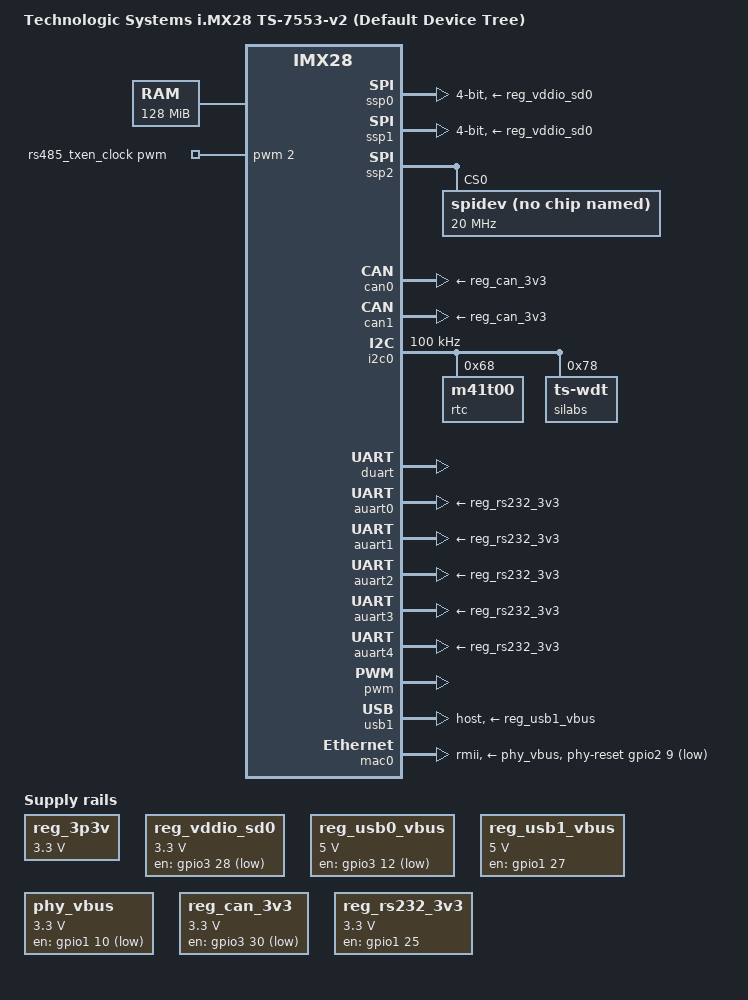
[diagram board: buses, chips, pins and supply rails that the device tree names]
/*
 * Copyright (C) 2012 Marek Vasut <marex@denx.de>
 *
 * The code contained herein is licensed under the GNU General Public
 * License. You may obtain a copy of the GNU General Public License
 * Version 2 or later at the following locations:
 *
 * http://www.opensource.org/licenses/gpl-license.html
 * http://www.gnu.org/copyleft/gpl.html
 */

/dts-v1/;
#include "imx28.dtsi"
#include "dt-bindings/gpio/gpio.h"
#include <dt-bindings/interrupt-controller/irq.h>

/ {

	model = "Technologic Systems i.MX28 TS-7553-v2 (Default Device Tree)";
	compatible = "fsl,imx28-ts7553", "fsl,imx28";

	aliases {
		mmc0 = &ssp0;
		mmc2 = &ssp1;
		i2c0 = &i2c0;
	};

	memory {
		reg = <0x40000000 0x08000000>;   /* 128MB */
	};

	apb@80000000 {
		apbh@80000000 {
		
			ssp0: ssp@80010000 {
				compatible = "fsl,imx28-mmc";
				pinctrl-names = "default";
				pinctrl-0 = <&mmc0_4bit_pins_ts7553
					     &mmc0_sck_cfg
					     &en_sd_pwr>;
				broken-cd = <1>;	     
				bus-width = <4>;
				vmmc-supply = <&reg_vddio_sd0>;
				status = "okay";
			};

			ssp1: ssp@80012000 {
				compatible = "fsl,imx28-mmc";
				pinctrl-names = "default";
				pinctrl-0 = <&mmc1_4bit_pins
				  &en_sd_pwr>;
				broken-cd = <1>;
				bus-width = <4>;
				vmmc-supply = <&reg_vddio_sd0>;
				status = "okay";
			};

									
			ssp2: ssp@80014000 {
				#address-cells = <1>;
				#size-cells = <0>;
				compatible = "fsl,imx28-spi";
				pinctrl-names = "default";
				pinctrl-0 = <&spi_pins_lcd>;
				status = "okay";	
				
				spidev@0x00 {
					compatible = "spidev";
					spi-max-frequency = <20000000>;
					reg = <0>;
				};
			};
			
			pinctrl@80018000 {
				pinctrl-names = "default";
				
				en_sd_pwr: en_sd_pwr {
					fsl,pinmux-ids = <
						// EN_SD_POWER#
						MX28_PAD_PWM3__GPIO_3_28
					>;
					fsl,drive-strength = <MXS_DRIVE_4mA>;
					fsl,voltage = <MXS_VOLTAGE_HIGH>;
					fsl,pull-up = <MXS_PULL_DISABLE>;					};

	
				mmc0_4bit_pins_ts7553: mmc0-4bit@0 {
					reg = <0>;
					fsl,pinmux-ids = <
						MX28_PAD_SSP0_DATA0__SSP0_D0
						MX28_PAD_SSP0_DATA1__SSP0_D1
						MX28_PAD_SSP0_DATA2__SSP0_D2
						MX28_PAD_SSP0_DATA3__SSP0_D3
						MX28_PAD_SSP0_CMD__SSP0_CMD						
						MX28_PAD_SSP0_SCK__SSP0_SCK
					>;
					fsl,drive-strength = <MXS_DRIVE_8mA>;
					fsl,voltage = <MXS_VOLTAGE_HIGH>;
					fsl,pull-up = <MXS_PULL_ENABLE>;
				};

				mmc1_4bit_pins: mmc1-4bit@0 {
					reg = <0>;
					fsl,pinmux-ids = <
						MX28_PAD_GPMI_WRN__SSP1_SCK

						MX28_PAD_GPMI_RDY1__SSP1_CMD
						MX28_PAD_GPMI_D00__SSP1_D0
						MX28_PAD_GPMI_D01__SSP1_D1
						MX28_PAD_GPMI_D02__SSP1_D2
						MX28_PAD_GPMI_D03__SSP1_D3
					>;
					fsl,drive-strength = <MXS_DRIVE_8mA>;
					fsl,voltage = <MXS_VOLTAGE_HIGH>;
					fsl,pull-up = <MXS_PULL_ENABLE>;
				};
				
				mac0_pins_ts7553: mac0@0 {
					reg = <0>;
					fsl,pinmux-ids = <
						MX28_PAD_ENET0_MDC__GPIO_4_0
						MX28_PAD_ENET0_MDIO__GPIO_4_1
						MX28_PAD_ENET0_RX_EN__ENET0_RX_EN
					 	MX28_PAD_ENET0_RXD0__ENET0_RXD0
						MX28_PAD_ENET0_RXD1__ENET0_RXD1
						MX28_PAD_ENET0_TX_EN__ENET0_TX_EN
						MX28_PAD_ENET0_TXD0__ENET0_TXD0
						MX28_PAD_ENET0_TXD1__ENET0_TXD1
						MX28_PAD_ENET_CLK__CLKCTRL_ENET

						// ETH_RESET#
						MX28_PAD_SSP0_DETECT__GPIO_2_9
	
						// EN_ETH_3.3V#
						MX28_PAD_LCD_D10__GPIO_1_10
					>;
					fsl,drive-strength = <MXS_DRIVE_8mA>;
					fsl,voltage = <MXS_VOLTAGE_HIGH>;
					fsl,pull-up = <MXS_PULL_ENABLE>;
				};

				spi_boot_pins_auart2: spi-boot-pins-auart2@0 {
					reg = <0>;
					fsl,pinmux-ids = <
						MX28_PAD_SSP2_SCK__AUART2_RX
						MX28_PAD_SSP2_MOSI__AUART2_TX
					>;
					fsl,drive-strength = <MXS_DRIVE_4mA>;
					fsl,voltage = <MXS_VOLTAGE_HIGH>;
					fsl,pull-up = <MXS_PULL_DISABLE>;
				};

				spi_boot_pins_auart3: spi-boot-pins-auart3@0 {
					reg = <0>;
					fsl,pinmux-ids = <
						MX28_PAD_SSP2_MISO__AUART3_RX
						MX28_PAD_SSP2_SS0__AUART3_TX
					>;
					fsl,drive-strength = <MXS_DRIVE_4mA>;
					fsl,voltage = <MXS_VOLTAGE_HIGH>;
					fsl,pull-up = <MXS_PULL_DISABLE>;
				};

				auart4_pins: auart4@0 {
					reg = <0>;
					fsl,pinmux-ids = <
						MX28_PAD_SAIF0_BITCLK__AUART4_RX
						MX28_PAD_SAIF0_SDATA0__AUART4_TX
						>;
					fsl,drive-strength = <MXS_DRIVE_4mA>;
					fsl,voltage = <MXS_VOLTAGE_HIGH>;
					fsl,pull-up = <MXS_PULL_DISABLE>;
			  	};

				spi_pins_lcd: spi2@0 {
					reg = <0>;
					fsl,pinmux-ids = <
						/* LCD_SPI_CLK */
						MX28_PAD_SSP0_DATA7__SSP2_SCK

						/* LCD_SPI_MOSI */
						MX28_PAD_SSP0_DATA6__SSP2_CMD

						/* LCD_CMD# @ GPIO 68*/
						MX28_PAD_SSP0_DATA4__GPIO_2_4

						/* LCD_RESET @ GPIO 84 */
						MX28_PAD_SSP2_SS1__GPIO_2_20

						/* EN_LCD_BK_LT @ GPIO 85 */
						MX28_PAD_SSP2_SS2__GPIO_2_21

						/* LCD_CS# */
						MX28_PAD_SSP0_DATA5__SSP2_D3
					>;
					fsl,drive-strength = <MXS_DRIVE_8mA>;
					fsl,voltage = <MXS_VOLTAGE_HIGH>;
					fsl,pull-up = <MXS_PULL_ENABLE>;
				};

				can_enable_pins: can0_en_pin@0 {
					reg = <0>;
					fsl,pinmux-ids = <
						// EN_CAN#
						MX28_PAD_LCD_RESET__GPIO_3_30
					>;
					fsl,drive-strength = <MXS_DRIVE_8mA>;
					fsl,voltage = <MXS_VOLTAGE_HIGH>;
					fsl,pull-up = <MXS_PULL_DISABLE>;
				};

				ts7553_232en_pins: ts7553_232en_pins@0 {
					reg = <0>;
					fsl,pinmux-ids = <
						// EN_232_TRANS
						MX28_PAD_LCD_WR_RWN__GPIO_1_25
					>;
					fsl,drive-strength = <MXS_DRIVE_8mA>;
					fsl,voltage = <MXS_VOLTAGE_HIGH>;
					fsl,pull-up = <MXS_PULL_DISABLE>;
				};
					
			};
			
			can0: can@80032000 {
				pinctrl-names = "default";
				pinctrl-0 = <&can0_pins_a
				  &can_enable_pins>;
				xceiver-supply = <&reg_can_3v3>;
				status = "okay";
			};

			can1: can@80034000 {
				pinctrl-names = "default";
				pinctrl-0 = <&can1_pins_a>;
				xceiver-supply = <&reg_can_3v3>;
				status = "okay";
			};

		};

		apbx@80040000 {
			saif0: saif@80042000 {
				pinctrl-names = "default";
				pinctrl-0 = <&saif0_pins_a>;
				status = "disabled";
			};

			saif1: saif@80046000 {
				pinctrl-names = "default";
				pinctrl-0 = <&saif1_pins_a>;
				fsl,saif-master = <&saif0>;
				status = "disabled";
			};


			i2c0: i2c@80058000 {
				pinctrl-names = "default";
				pinctrl-0 = <&i2c0_pins_a>;
				clock-frequency = <100000>;
				status = "okay";

				rtc: m41t00s@68 {
					compatible = "m41t00";
					reg = <0x68>;
				};

				silabs: silabs@78 {
					compatible = "ts-wdt";
					reg = <0x78>;
				};
			};

			duart: serial@80074000 {
				pinctrl-names = "default";
				pinctrl-0 = <&duart_pins_a>;
				status = "okay";
			};

			usbphy0: usbphy@8007c000 {
				status = "okay";
								
			};

			usbphy1: usbphy@8007e000 {			   
				status = "okay";
			};


			auart0: serial@8006a000 {
				pinctrl-names = "default";
				pinctrl-0 = <
					&auart0_pins_a
					&ts7553_232en_pins
				>;
				xceiver-supply = <&reg_rs232_3v3>;
				status = "okay";
			};

			auart1: serial@8006c000 {
				pinctrl-names = "default";
				pinctrl-0 = <&auart1_2pins_a>;
				xceiver-supply = <&reg_rs232_3v3>;
				status = "okay";
			};

			auart2: serial@8006e000 {
				pinctrl-names = "default";
				pinctrl-0 = <&spi_boot_pins_auart2>;
				xceiver-supply = <&reg_rs232_3v3>;
				status = "okay";
			};

			auart3: serial@80070000 {
				pinctrl-names = "default";
				pinctrl-0 = <&spi_boot_pins_auart3>;
				xceiver-supply = <&reg_rs232_3v3>;
				status = "okay";
			};

			auart4: serial@80072000 {
				pinctrl-names = "default";
				pinctrl-0 = <&auart4_pins>;
				xceiver-supply = <&reg_rs232_3v3>;
				status = "okay";
			};

			pwm: pwm@80064000 {
				pinctrl-names = "default";
				pinctrl-0 = <&pwm2_pins_a>;
				status = "okay";
			};
		};
	};

	ahb@80080000 {	   
		usb1: usb@80090000 {
			vbus-supply = <&reg_usb1_vbus>;		
			disable-over-current;
			dr_mode = "host";
			status = "okay";
		};

		mac0: ethernet@800f0000 {
			phy-mode = "rmii";
			pinctrl-names = "default";
			pinctrl-0 = <&mac0_pins_ts7553>;			      
			clocks = <&clks 57>, <&clks 57>, <&clks 64>;
			clock-names = "ipg", "ahb", "enet_out";
		 	phy-supply = <&phy_vbus>;		
			phy-reset-gpios = <&gpio2 9 GPIO_ACTIVE_LOW>;
			phy-reset-duration = <1000>;
			status = "okay";

			phy: ethernet@0 {	   
				device_type = "network";
				fixed-link = <0 1 100 0 0>;
			};
		};
	};

	regulators {
		compatible = "simple-bus";

		reg_3p3v: 3p3v {
			compatible = "regulator-fixed";
			regulator-name = "3P3V";
			regulator-min-microvolt = <3300000>;
			regulator-max-microvolt = <3300000>;
			regulator-always-on;
		};
		
		
		reg_vddio_sd0: vddio-sd0 {
			compatible = "regulator-fixed";
			regulator-name = "vddio-sd0";
			regulator-min-microvolt = <3300000>;
			regulator-max-microvolt = <3300000>;
			regulator-boot-on;
			gpio = <&gpio3 28 0>;
			};
	
		
		reg_usb0_vbus: usb0_vbus {
			compatible = "regulator-fixed";
			regulator-name = "usb0_vbus";
			regulator-min-microvolt = <5000000>;
			regulator-max-microvolt = <5000000>;
			gpio = <&gpio3 12 0>;
			
		};

		reg_usb1_vbus: usb1_vbus {
			compatible = "regulator-fixed";
			regulator-name = "usb1_vbus";
			regulator-min-microvolt = <5000000>;
			regulator-max-microvolt = <5000000>;
			gpio = <&gpio1 27 0>;      // EN_HOST_USB_5V
			regulator-always-on;
			enable-active-high;
		};

		phy_vbus: phy_vbus {		
			compatible = "regulator-fixed";
			regulator-name = "phy-3v3";
			regulator-min-microvolt = <3300000>;
			regulator-max-microvolt = <3300000>;
			gpio = <&gpio1 10 0>;
			enable-active-low;
			regulator-boot-on;
		};

		reg_can_3v3: can-3v3 {
			compatible = "regulator-fixed";
			regulator-name = "xceiver";
			regulator-min-microvolt = <3300000>;
			regulator-max-microvolt = <3300000>;
			gpio = <&gpio3 30 0>;      // EN_CAN#
			enable-active-low;
		};

		reg_rs232_3v3: rs232-3v3 {
			compatible = "regulator-fixed";
			regulator-name = "rs232xceiver";
			regulator-min-microvolt = <3300000>;
			regulator-max-microvolt = <3300000>;
			gpio = <&gpio1 25 0>;      // EN_232_TRANS
			enable-active-high;
			regulator-boot-on;
			regulator-always-on;
		};
	};

	rs485_txen_clock {
		compatible = "pwm-clock";
		#clock-cells = <0>;
		clock-frequency = <12240>;
		clock-output-names = "rs485_txen";
		pwms = <&pwm 2 81699>; // close enough for 9600 baud default
	};
};
